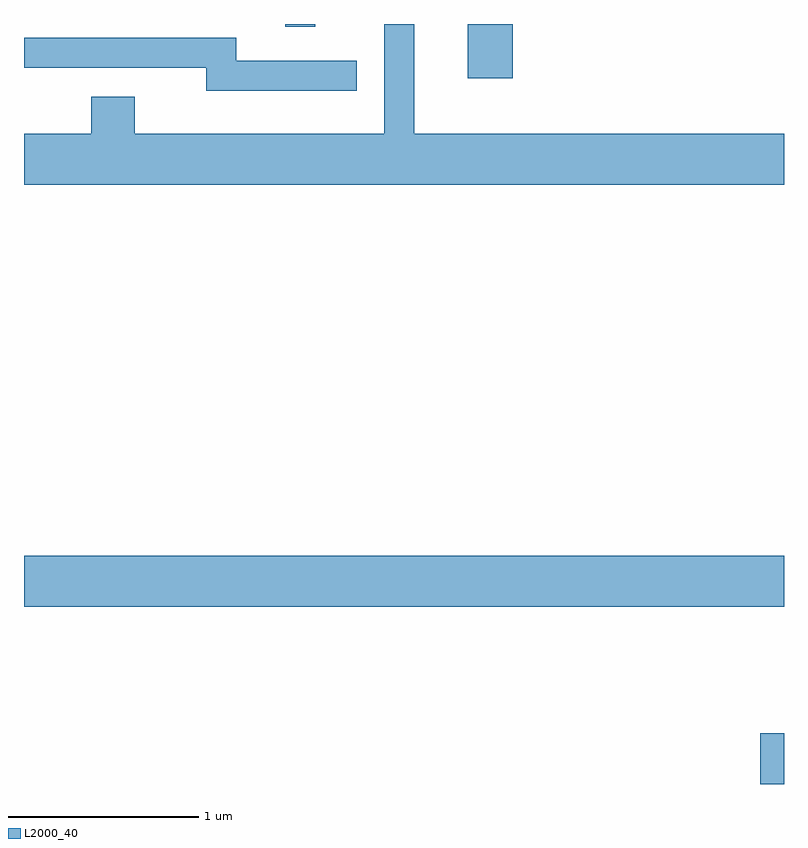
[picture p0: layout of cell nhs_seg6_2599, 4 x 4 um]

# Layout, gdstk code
import gdstk
lib = gdstk.Library(unit=1e-6, precision=1e-09)
def R(c, l, rs):  # rectangles x0, y0, x1, y1
    for r in rs: c.add(gdstk.rectangle(r[:2], r[2:], *l))
def P(c, l, *ps):  # polygons
    for p in ps: c.add(gdstk.Polygon(p, *l))
L2000_40 = (2000, 40)

nhs_seg6_2599 = lib.new_cell('nhs_seg6_2599')
R(nhs_seg6_2599, L2000_40, [(267.486,1600.162,267.611,1600.429), (263.611,1601.096,267.611,1601.364), (265.946,1603.876,266.184,1604.162), (264.986,1604.148,265.144,1604.162)])
P(nhs_seg6_2599, L2000_40, [(267.611,1603.584),(265.664,1603.584),(265.664,1604.162),(265.506,1604.162),(265.506,1603.584),(264.194,1603.584),(264.194,1603.779),(263.966,1603.779),(263.966,1603.584),(263.611,1603.584),(263.611,1603.316),(267.611,1603.316)],
  [(265.363,1603.969),(264.729,1603.969),(264.729,1604.089),(263.611,1604.089),(263.611,1603.931),(264.571,1603.931),(264.571,1603.811),(265.363,1603.811)])

lib.write_gds('nhs_seg6_2599.gds')
